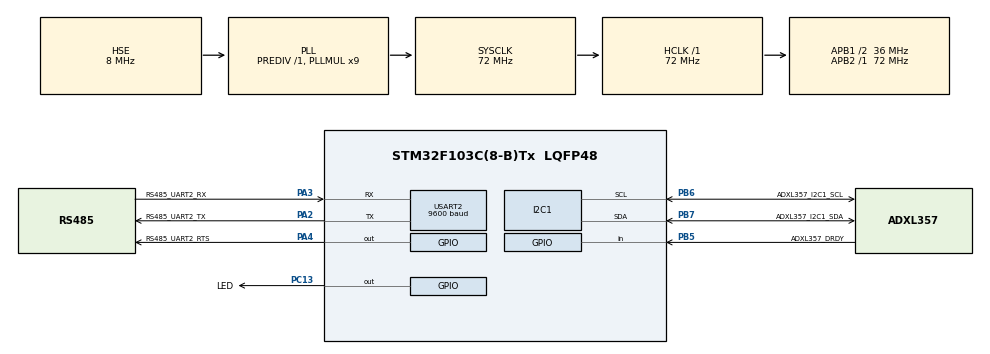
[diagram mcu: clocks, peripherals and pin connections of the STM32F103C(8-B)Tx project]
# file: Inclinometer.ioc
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I2C1.I2C_Mode=I2C_Fast
Mcu.Family=STM32F1
Mcu.Name=STM32F103C(8-B)Tx
Mcu.Package=LQFP48
NVIC.I2C1_EV_IRQn=true\:0\:0\:false\:false\:true\:true\:true
NVIC.PriorityGroup=NVIC_PRIORITYGROUP_4
NVIC.TIM4_IRQn=true\:0\:0\:false\:false\:true\:true\:true
NVIC.USART2_IRQn=true\:0\:0\:false\:false\:true\:true\:true
PA13.Mode=Trace_Asynchronous_SW
PA13.Signal=SYS_JTMS-SWDIO
PA14.Mode=Trace_Asynchronous_SW
PA14.Signal=SYS_JTCK-SWCLK
PA2.GPIO_Label=RS485_UART2_TX
PA2.Mode=Asynchronous
PA2.Signal=USART2_TX
PA3.GPIO_Label=RS485_UART2_RX
PA3.GPIO_PuPd=GPIO_PULLUP
PA3.Mode=Asynchronous
PA3.Signal=USART2_RX
PA4.GPIO_Label=RS485_UART2_RTS
PA4.GPIO_PuPd=GPIO_PULLDOWN
PA4.GPIO_Speed=GPIO_SPEED_FREQ_MEDIUM
PA4.Signal=GPIO_Output
PB3.Mode=Trace_Asynchronous_SW
PB3.Signal=SYS_JTDO-TRACESWO
PB5.GPIO_Label=ADXL357_DRDY
PB5.GPIO_PuPd=GPIO_PULLDOWN
PB5.Signal=GPIO_Input
PB6.GPIO_Label=ADXL357_I2C1_SCL
PB6.Mode=I2C
PB6.Signal=I2C1_SCL
PB7.GPIO_Label=ADXL357_I2C1_SDA
PB7.Mode=I2C
PB7.Signal=I2C1_SDA
PC13-TAMPER-RTC.GPIO_Label=LED
PC13-TAMPER-RTC.Signal=GPIO_Output
PD0-OSC_IN.Mode=HSE-External-Oscillator
PD0-OSC_IN.Signal=RCC_OSC_IN
PD1-OSC_OUT.Mode=HSE-External-Oscillator
PD1-OSC_OUT.Signal=RCC_OSC_OUT
ProjectManager.HeapSize=0x200
ProjectManager.StackSize=0x300
ProjectManager.TargetToolchain=MDK-ARM V5.32
RCC.AHBFreq_Value=72000000
RCC.APB1CLKDivider=RCC_HCLK_DIV2
RCC.APB1Freq_Value=36000000
RCC.APB1TimFreq_Value=72000000
RCC.APB2Freq_Value=72000000
RCC.APB2TimFreq_Value=72000000
RCC.HCLKFreq_Value=72000000
RCC.PLLMUL=RCC_PLL_MUL9
RCC.PLLSourceVirtual=RCC_PLLSOURCE_HSE
RCC.SYSCLKFreq_VALUE=72000000
RCC.SYSCLKSource=RCC_SYSCLKSOURCE_PLLCLK
RCC.USBFreq_Value=72000000
TIM4.Period=365
TIM4.Prescaler=719
USART2.BaudRate=9600
USART2.VirtualMode=VM_ASYNC
VP_TIM4_VS_ClockSourceINT.Mode=Internal
board=custom

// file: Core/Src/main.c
/* USER CODE BEGIN Header */
/**
  ******************************************************************************
  * @file           : main.c
  * @brief          : Main program body
  ******************************************************************************
  * @attention
  *
  * Copyright (c) 2022 STMicroelectronics.
  * All rights reserved.
  *
  * This software is licensed under terms that can be found in the LICENSE file
  * in the root directory of this software component.
  * If no LICENSE file comes with this software, it is provided AS-IS.
  *
  ******************************************************************************
  */
/* USER CODE END Header */
#include "main.h"

/* USER CODE BEGIN Includes */
#include "RS485Connector.h"
#include "Memory.h"
#include "ModbusCommon.h"
#include "LSM9DS0.h"
#include "TimeSpan.h"
#include <math.h>
#include <stdio.h>
/* USER CODE END Includes */

I2C_HandleTypeDef hi2c1;

TIM_HandleTypeDef htim4;

UART_HandleTypeDef huart2;

/* USER CODE BEGIN PV */
Memory* memory = (void*)FIRST_PAGE_PROPERTY_ADDR;

RS485Server rs485Server = {
	.tim = &htim4,
	.uart = &huart2,
	.RTS_GPIO_PORT = RS485_UART2_RTS_GPIO_Port,
  .RTS_PIN = RS485_UART2_RTS_Pin,
};

LSM9DS0 lsm9ds0 ={
	.i2c=&hi2c1,
	//.address = 0x1D,//0x53,//
	//.address = 0x1E,//Адрес акселерометра в составе LSM9DS0
	.isConnected = 0x00,
};

InclinometrData inclinometrData={
	.Pitch = 0.0F,             //Тангаж [град.]
	.Roll = 0.0F,              //Крен [град.]
	.AccelerationX = 0.0F,     //Ускорение по оси X [g]
	.AccelerationY = 0.0F,     //Ускорение по оси Y [g]
	.AccelerationZ = 0.0F,     //Ускорение по оси Z [g]
	.Temperature = -273.0F,    //Температура [град. C]
	.AccelerationRAWX = 0.0F,  //Ускорение по оси X до выполнения корректировки [g]
	.AccelerationRAWY = 0.0F,  //Ускорение по оси Y до выполнения корректировки [g]
	.AccelerationRAWZ = 0.0F,  //Ускорение по оси Z до выполнения корректировки [g]
	.VibroAcceleratuonRMS=0.0F,//Среднеквадратическое значение виброускорения (вибрация) [g]
};

const char infoStringFirstPart[]="Inclinometr ID_";
char infoString[sizeof(infoStringFirstPart)+24];
InfoRegisters infoRegisters={(uint8_t*)infoString,sizeof(infoString)+24};

InputRegisters inputRegisters={
  .registers = (uint16_t*)&inclinometrData,
  .count = sizeof(InclinometrData)/2
};

HoldingRegisters holdingRegisters={(uint16_t*)FIRST_PAGE_PROPERTY_ADDR,sizeof(Memory)/2};

ContactRegisters contactRegisters = {NULL,0};
CoilRegisters coilRegisters = {NULL,0};

//----------------------------
#define ACCEL_FREQUENCY_SUMPLING 100

float vibroAccelArrayX[ACCEL_FREQUENCY_SUMPLING];
float vibroAccelArrayY[ACCEL_FREQUENCY_SUMPLING];
float vibroAccelArrayZ[ACCEL_FREQUENCY_SUMPLING];
uint16_t vibroAccelCounter=0;
/* USER CODE END PV */

void SystemClock_Config(void);
static void MX_GPIO_Init(void);
static void MX_I2C1_Init(void);
static void MX_USART2_UART_Init(void);
static void MX_TIM4_Init(void);

/* USER CODE BEGIN 0 */
void HAL_UART_TxCpltCallback(UART_HandleTypeDef *huart)
{
	//if(huart->Instance==rs485Server.uart->Instance)
	RS485Server_uartTxSlot(&rs485Server);
}

void HAL_UART_RxCpltCallback(UART_HandleTypeDef *huart)
{
	//if(huart->Instance==rs485Server.uart->Instance)
	RS485Server_uartRxSlot(&rs485Server);
}

void HAL_UART_ErrorCallback(UART_HandleTypeDef *huart)
{
  if(huart->Instance==rs485Server.uart->Instance)
	{
		RS485Server_uartErrorSlot(&rs485Server);
	}
}

void HAL_TIM_PeriodElapsedCallback(TIM_HandleTypeDef *htim)
{
  if(htim->Instance==rs485Server.tim->Instance)RS485Server_timerSlot(&rs485Server);
}

void HAL_I2C_MemRxCpltCallback(I2C_HandleTypeDef *hi2c)
{
  if(hi2c->Instance==lsm9ds0.i2c->Instance)
	{
		lsm9ds0.rxCpltCallback(&lsm9ds0);
	}
}

void adxlAccelVectorReceiveCallback(float adxl357_Vector[3])
{
	static uint8_t isVectorAlreadyReceived = 0;

	inclinometrData.AccelerationRAWX = adxl357_Vector[0];
	inclinometrData.AccelerationRAWY = adxl357_Vector[1];
	inclinometrData.AccelerationRAWZ = adxl357_Vector[2];

	static float AccelTmpX;
	static float AccelTmpY;
	static float AccelTmpZ;

	/*if(isVectorAlreadyReceived==0)//Первый вызов, фильтрацию проводить смысла нет
	{
		isVectorAlreadyReceived=1;

		AccelTmpX = adxl357_Vector[0];
	  AccelTmpY = adxl357_Vector[1];
	  AccelTmpZ = adxl357_Vector[2];
	}
	else //применяем фильтр Калмана
	{
		AccelTmpX = AccelTmpX*0.96F + adxl357_Vector[0]*0.04F;//Коэффициенты взяты примерно, с учетом что выборка происходит с частотой 125 Гц
	  AccelTmpY = AccelTmpY*0.96F + adxl357_Vector[1]*0.04F;
	  AccelTmpZ = AccelTmpZ*0.96F + adxl357_Vector[2]*0.04F;
	}

	vibroAccelArrayX[vibroAccelCounter] = adxl357_Vector[0] - AccelTmpX;
	vibroAccelArrayY[vibroAccelCounter] = adxl357_Vector[1] - AccelTmpY;
	vibroAccelArrayZ[vibroAccelCounter] = adxl357_Vector[2] - AccelTmpZ;*/

	if(++vibroAccelCounter==ACCEL_FREQUENCY_SUMPLING)
	{
		vibroAccelCounter=0;
		float accelTmpX=0;
		float accelTmpY=0;
		float accelTmpZ=0;

		for(int i =0;i<ACCEL_FREQUENCY_SUMPLING;i++)
		{
			accelTmpX+=vibroAccelArrayX[i]*vibroAccelArrayX[i];
			accelTmpY+=vibroAccelArrayY[i]*vibroAccelArrayY[i];
			accelTmpZ+=vibroAccelArrayZ[i]*vibroAccelArrayZ[i];
		}
		accelTmpX = sqrtf(accelTmpX);
		accelTmpY = sqrtf(accelTmpY);
		accelTmpZ = sqrtf(accelTmpZ);
		inclinometrData.VibroAcceleratuonRMS = sqrtf(accelTmpX*accelTmpX + accelTmpY*accelTmpY + accelTmpZ*accelTmpZ);
	}

	if(memory->adjPoints[1].temperature==300.0F)//Если калибровка произведена только на одной точке
	{
		//Добавить смещение нуля
		float offsetX = memory->adjPoints[0].zeroOffsetVector[0];
		float offsetY = memory->adjPoints[0].zeroOffsetVector[1];
		float offsetZ = memory->adjPoints[0].zeroOffsetVector[2];

		if(isVectorAlreadyReceived==0)//Первый вызов, фильтрацию проводить смысла нет
	  {
		  isVectorAlreadyReceived=1;

		  AccelTmpX = (adxl357_Vector[0]+offsetX);
	    AccelTmpY = (adxl357_Vector[1]+offsetY);
	    AccelTmpZ = (adxl357_Vector[2]+offsetZ);
	  }
	  else //применяем фильтр Калмана
	  {
		  AccelTmpX = AccelTmpX*0.96F + (adxl357_Vector[0]+offsetX)*0.04F;//Коэффициенты взяты примерно, с учетом что выборка происходит с частотой 100 Гц
	    AccelTmpY = AccelTmpY*0.96F + (adxl357_Vector[1]+offsetY)*0.04F;
	    AccelTmpZ = AccelTmpZ*0.96F + (adxl357_Vector[2]+offsetZ)*0.04F;
	  }

	  vibroAccelArrayX[vibroAccelCounter] = (adxl357_Vector[0]+offsetX) - AccelTmpX;
	  vibroAccelArrayY[vibroAccelCounter] = (adxl357_Vector[1]+offsetY) - AccelTmpY;
	  vibroAccelArrayZ[vibroAccelCounter] = (adxl357_Vector[2]+offsetZ) - AccelTmpZ;

		/*AccelTmpX+= offsetX;
		AccelTmpY+= offsetY;
		AccelTmpZ+= offsetZ;*/

		//Умножить на матрицу перехода
		inclinometrData.AccelerationX = AccelTmpX*memory->adjPoints[0].transitionMatrix[0][0]+AccelTmpY*memory->adjPoints[0].transitionMatrix[1][0]+AccelTmpZ*memory->adjPoints[0].transitionMatrix[2][0];
		inclinometrData.AccelerationY = AccelTmpX*memory->adjPoints[0].transitionMatrix[0][1]+AccelTmpY*memory->adjPoints[0].transitionMatrix[1][1]+AccelTmpZ*memory->adjPoints[0].transitionMatrix[2][1];
		inclinometrData.AccelerationZ = AccelTmpX*memory->adjPoints[0].transitionMatrix[0][2]+AccelTmpY*memory->adjPoints[0].transitionMatrix[1][2]+AccelTmpZ*memory->adjPoints[0].transitionMatrix[2][2];
	}
	else//Если калибровка произведена на группе точек, причем количество точек может быть произвольное количество меньше или равно 10
	{
		int i = 1;
	  for(; i<ADJ_POINTS_COUNT;i++)
	  {
		  if(inclinometrData.Temperature<memory->adjPoints[i].temperature)//Нашли диапазон в котором находится температура
		  {
				//рассчитать смещения нуля в соответствии с линейной аппроксимацией температурной зависимости, добавить смещение нуля
			  float offsetX = ((inclinometrData.Temperature-memory->adjPoints[i-1].temperature)
			              *(memory->adjPoints[i].zeroOffsetVector[0]-memory->adjPoints[i-1].zeroOffsetVector[0])
			              /(memory->adjPoints[i].temperature-memory->adjPoints[i-1].temperature)
			              +memory->adjPoints[i-1].zeroOffsetVector[0]);
			  float offsetY = ((inclinometrData.Temperature-memory->adjPoints[i-1].temperature)
			              *(memory->adjPoints[i].zeroOffsetVector[1]-memory->adjPoints[i-1].zeroOffsetVector[1])
			              /(memory->adjPoints[i].temperature-memory->adjPoints[i-1].temperature)
			              +memory->adjPoints[i-1].zeroOffsetVector[1]);
			  float offsetZ = ((inclinometrData.Temperature-memory->adjPoints[i-1].temperature)
			              *(memory->adjPoints[i].zeroOffsetVector[2]-memory->adjPoints[i-1].zeroOffsetVector[2])
			              /(memory->adjPoints[i].temperature-memory->adjPoints[i-1].temperature)
			              +memory->adjPoints[i-1].zeroOffsetVector[2]);

				if(isVectorAlreadyReceived==0)//Первый вызов, фильтрацию проводить смысла нет
	      {
		      isVectorAlreadyReceived=1;

		      AccelTmpX = (adxl357_Vector[0]+offsetX);
	        AccelTmpY = (adxl357_Vector[1]+offsetY);
	        AccelTmpZ = (adxl357_Vector[2]+offsetZ);
	      }
	      else //применяем фильтр Калмана
	      {
		      AccelTmpX = AccelTmpX*0.96F + (adxl357_Vector[0]+offsetX)*0.04F;//Коэффициенты взяты примерно, с учетом что выборка происходит с частотой 100 Гц
	        AccelTmpY = AccelTmpY*0.96F + (adxl357_Vector[1]+offsetY)*0.04F;
	        AccelTmpZ = AccelTmpZ*0.96F + (adxl357_Vector[2]+offsetZ)*0.04F;
	      }

	      vibroAccelArrayX[vibroAccelCounter] = (adxl357_Vector[0]+offsetX) - AccelTmpX;
	      vibroAccelArrayY[vibroAccelCounter] = (adxl357_Vector[1]+offsetY) - AccelTmpY;
	      vibroAccelArrayZ[vibroAccelCounter] = (adxl357_Vector[2]+offsetZ) - AccelTmpZ;

		    /*AccelTmpX+= offsetX;
		    AccelTmpY+= offsetY;
		    AccelTmpZ+= offsetZ;*/

				//рассчитать коэффициеты матрицы перехода в соответствии с линейной аппроксимацией температурной зависимости
				float x11,x12,x13,x21,x22,x23,x31,x32,x33;
				x11 = (inclinometrData.Temperature-memory->adjPoints[i-1].temperature)
			        *(memory->adjPoints[i].transitionMatrix[0][0]-memory->adjPoints[i-1].transitionMatrix[0][0])
			        /(memory->adjPoints[i].temperature-memory->adjPoints[i-1].temperature)
			        +memory->adjPoints[i-1].transitionMatrix[0][0];
				x12 = (inclinometrData.Temperature-memory->adjPoints[i-1].temperature)
			        *(memory->adjPoints[i].transitionMatrix[0][1]-memory->adjPoints[i-1].transitionMatrix[0][1])
			        /(memory->adjPoints[i].temperature-memory->adjPoints[i-1].temperature)
			        +memory->adjPoints[i-1].transitionMatrix[0][1];
				x13 = (inclinometrData.Temperature-memory->adjPoints[i-1].temperature)
			        *(memory->adjPoints[i].transitionMatrix[0][2]-memory->adjPoints[i-1].transitionMatrix[0][2])
			        /(memory->adjPoints[i].temperature-memory->adjPoints[i-1].temperature)
			        +memory->adjPoints[i-1].transitionMatrix[0][2];
				x21 = (inclinometrData.Temperature-memory->adjPoints[i-1].temperature)
			        *(memory->adjPoints[i].transitionMatrix[1][0]-memory->adjPoints[i-1].transitionMatrix[1][0])
			        /(memory->adjPoints[i].temperature-memory->adjPoints[i-1].temperature)
			        +memory->adjPoints[i-1].transitionMatrix[1][0];
				x22 = (inclinometrData.Temperature-memory->adjPoints[i-1].temperature)
			        *(memory->adjPoints[i].transitionMatrix[1][1]-memory->adjPoints[i-1].transitionMatrix[1][1])
			        /(memory->adjPoints[i].temperature-memory->adjPoints[i-1].temperature)
			        +memory->adjPoints[i-1].transitionMatrix[1][1];
				x23 = (inclinometrData.Temperature-memory->adjPoints[i-1].temperature)
			        *(memory->adjPoints[i].transitionMatrix[1][2]-memory->adjPoints[i-1].transitionMatrix[1][2])
			        /(memory->adjPoints[i].temperature-memory->adjPoints[i-1].temperature)
			        +memory->adjPoints[i-1].transitionMatrix[1][2];
				x31 = (inclinometrData.Temperature-memory->adjPoints[i-1].temperature)
			        *(memory->adjPoints[i].transitionMatrix[2][0]-memory->adjPoints[i-1].transitionMatrix[2][0])
			        /(memory->adjPoints[i].temperature-memory->adjPoints[i-1].temperature)
			        +memory->adjPoints[i-1].transitionMatrix[2][0];
				x32 = (inclinometrData.Temperature-memory->adjPoints[i-1].temperature)
			        *(memory->adjPoints[i].transitionMatrix[2][1]-memory->adjPoints[i-1].transitionMatrix[2][1])
			        /(memory->adjPoints[i].temperature-memory->adjPoints[i-1].temperature)
			        +memory->adjPoints[i-1].transitionMatrix[2][1];
				x33 = (inclinometrData.Temperature-memory->adjPoints[i-1].temperature)
			        *(memory->adjPoints[i].transitionMatrix[2][2]-memory->adjPoints[i-1].transitionMatrix[2][2])
			        /(memory->adjPoints[i].temperature-memory->adjPoints[i-1].temperature)
			        +memory->adjPoints[i-1].transitionMatrix[2][2];

			  //Умножить на матрицу перехода
				inclinometrData.AccelerationX = AccelTmpX*x11+AccelTmpY*x21+AccelTmpZ*x31;
		    inclinometrData.AccelerationY = AccelTmpX*x12+AccelTmpY*x22+AccelTmpZ*x32;
		    inclinometrData.AccelerationZ = AccelTmpX*x13+AccelTmpY*x23+AccelTmpZ*x33;
		  }
	  }
		if(i == ADJ_POINTS_COUNT)//Значение температуры больше максимальной, забитой в калибровочной таблице
		{
			float offsetX = ((inclinometrData.Temperature-memory->adjPoints[i-2].temperature)
			            *(memory->adjPoints[i-1].zeroOffsetVector[0]-memory->adjPoints[i-2].zeroOffsetVector[0])
			            /(memory->adjPoints[i-1].temperature-memory->adjPoints[i-2].temperature)
			            +memory->adjPoints[i-2].zeroOffsetVector[0]);
			float offsetY = ((inclinometrData.Temperature-memory->adjPoints[i-2].temperature)
			            *(memory->adjPoints[i-1].zeroOffsetVector[1]-memory->adjPoints[i-2].zeroOffsetVector[1])
			            /(memory->adjPoints[i-1].temperature-memory->adjPoints[i-2].temperature)
			            +memory->adjPoints[i-2].zeroOffsetVector[1]);
			float offsetZ = ((inclinometrData.Temperature-memory->adjPoints[i-2].temperature)
			            *(memory->adjPoints[i-1].zeroOffsetVector[2]-memory->adjPoints[i-2].zeroOffsetVector[2])
			            /(memory->adjPoints[i-1].temperature-memory->adjPoints[i-2].temperature)
			            +memory->adjPoints[i-2].zeroOffsetVector[2]);

		  if(isVectorAlreadyReceived==0)//Первый вызов, фильтрацию проводить смысла нет
	    {
		    isVectorAlreadyReceived=1;

		    AccelTmpX = (adxl357_Vector[0]+offsetX);
	      AccelTmpY = (adxl357_Vector[1]+offsetY);
	      AccelTmpZ = (adxl357_Vector[2]+offsetZ);
	    }
	    else //применяем фильтр Калмана
	    {
		    AccelTmpX = AccelTmpX*0.96F + (adxl357_Vector[0]+offsetX)*0.04F;//Коэффициенты взяты примерно, с учетом что выборка происходит с частотой 100 Гц
	      AccelTmpY = AccelTmpY*0.96F + (adxl357_Vector[1]+offsetY)*0.04F;
	      AccelTmpZ = AccelTmpZ*0.96F + (adxl357_Vector[2]+offsetZ)*0.04F;
	    }

	    vibroAccelArrayX[vibroAccelCounter] = (adxl357_Vector[0]+offsetX) - AccelTmpX;
	    vibroAccelArrayY[vibroAccelCounter] = (adxl357_Vector[1]+offsetY) - AccelTmpY;
	    vibroAccelArrayZ[vibroAccelCounter] = (adxl357_Vector[2]+offsetZ) - AccelTmpZ;

		  /*AccelTmpX+= offsetX;
		  AccelTmpY+= offsetY;
		  AccelTmpZ+= offsetZ;*/

			//рассчитать коэффициеты матрицы перехода в соответствии с линейной аппроксимацией температурной зависимости
			float x11,x12,x13,x21,x22,x23,x31,x32,x33;
			x11 = (inclinometrData.Temperature-memory->adjPoints[i-2].temperature)
			     *(memory->adjPoints[i-1].transitionMatrix[0][0]-memory->adjPoints[i-2].transitionMatrix[0][0])
			     /(memory->adjPoints[i-1].temperature-memory->adjPoints[i-2].temperature)
			      +memory->adjPoints[i-2].transitionMatrix[0][0];
			x12 = (inclinometrData.Temperature-memory->adjPoints[i-2].temperature)
			     *(memory->adjPoints[i-1].transitionMatrix[0][1]-memory->adjPoints[i-2].transitionMatrix[0][1])
			     /(memory->adjPoints[i-1].temperature-memory->adjPoints[i-2].temperature)
			      +memory->adjPoints[i-2].transitionMatrix[0][1];
			x13 = (inclinometrData.Temperature-memory->adjPoints[i-2].temperature)
			     *(memory->adjPoints[i-1].transitionMatrix[0][2]-memory->adjPoints[i-2].transitionMatrix[0][2])
			     /(memory->adjPoints[i-1].temperature-memory->adjPoints[i-2].temperature)
			      +memory->adjPoints[i-2].transitionMatrix[0][2];
			x21 = (inclinometrData.Temperature-memory->adjPoints[i-2].temperature)
			     *(memory->adjPoints[i-1].transitionMatrix[1][0]-memory->adjPoints[i-2].transitionMatrix[1][0])
			     /(memory->adjPoints[i-1].temperature-memory->adjPoints[i-2].temperature)
			      +memory->adjPoints[i-2].transitionMatrix[1][0];
			x22 = (inclinometrData.Temperature-memory->adjPoints[i-2].temperature)
			     *(memory->adjPoints[i-1].transitionMatrix[1][1]-memory->adjPoints[i-2].transitionMatrix[1][1])
			     /(memory->adjPoints[i-1].temperature-memory->adjPoints[i-2].temperature)
			      +memory->adjPoints[i-2].transitionMatrix[1][1];
			x23 = (inclinometrData.Temperature-memory->adjPoints[i-2].temperature)
			     *(memory->adjPoints[i-1].transitionMatrix[1][2]-memory->adjPoints[i-2].transitionMatrix[1][2])
			     /(memory->adjPoints[i-1].temperature-memory->adjPoints[i-2].temperature)
			      +memory->adjPoints[i-2].transitionMatrix[1][2];
			x31 = (inclinometrData.Temperature-memory->adjPoints[i-2].temperature)
			     *(memory->adjPoints[i-1].transitionMatrix[2][0]-memory->adjPoints[i-2].transitionMatrix[2][0])
			     /(memory->adjPoints[i-1].temperature-memory->adjPoints[i-2].temperature)
			      +memory->adjPoints[i-2].transitionMatrix[2][0];
			x32 = (inclinometrData.Temperature-memory->adjPoints[i-2].temperature)
			     *(memory->adjPoints[i-1].transitionMatrix[2][1]-memory->adjPoints[i-2].transitionMatrix[2][1])
			     /(memory->adjPoints[i-1].temperature-memory->adjPoints[i-2].temperature)
			      +memory->adjPoints[i-2].transitionMatrix[2][1];
			x33 = (inclinometrData.Temperature-memory->adjPoints[i-2].temperature)
			     *(memory->adjPoints[i-1].transitionMatrix[2][2]-memory->adjPoints[i-2].transitionMatrix[2][2])
			     /(memory->adjPoints[i-1].temperature-memory->adjPoints[i-2].temperature)
			      +memory->adjPoints[i-2].transitionMatrix[2][2];

			//Умножить на матрицу перехода
			inclinometrData.AccelerationX = AccelTmpX*x11+AccelTmpY*x21+AccelTmpZ*x31;
		  inclinometrData.AccelerationY = AccelTmpX*x12+AccelTmpY*x22+AccelTmpZ*x32;
		  inclinometrData.AccelerationZ = AccelTmpX*x13+AccelTmpY*x23+AccelTmpZ*x33;
		}
  }

	//Рассчитываем тангаж и крен
	if(inclinometrData.AccelerationX>0)//Т
	{
		inclinometrData.Pitch=acosf((inclinometrData.AccelerationX*0.0F + inclinometrData.AccelerationZ*1.0F)
			                           /(sqrtf(inclinometrData.AccelerationX*inclinometrData.AccelerationX + inclinometrData.AccelerationZ*inclinometrData.AccelerationZ)*sqrtf(0.0F*0.0F + -1.0F*-1.0F)))*180.0F/3.14159265F;
	}
	else
	{
		inclinometrData.Pitch=-acosf((inclinometrData.AccelerationX*0.0F + inclinometrData.AccelerationZ*1.0F)
			                           /(sqrtf(inclinometrData.AccelerationX*inclinometrData.AccelerationX + inclinometrData.AccelerationZ*inclinometrData.AccelerationZ)*sqrtf(0.0F*0.0F + -1.0F*-1.0F)))*180.0F/3.14159265F;
	}

	if(inclinometrData.AccelerationY>0)//Т
	{
		inclinometrData.Roll=acosf((inclinometrData.AccelerationY*0.0F + inclinometrData.AccelerationZ*1.0F)
			                           /(sqrtf(inclinometrData.AccelerationY*inclinometrData.AccelerationY + inclinometrData.AccelerationZ*inclinometrData.AccelerationZ)*sqrtf(0.0F*0.0F + -1.0F*-1.0F)))*180.0F/3.14159265F;
	}
	else
	{
		inclinometrData.Roll=-acosf((inclinometrData.AccelerationY*0.0F + inclinometrData.AccelerationZ*1.0F)
			                           /(sqrtf(inclinometrData.AccelerationY*inclinometrData.AccelerationY + inclinometrData.AccelerationZ*inclinometrData.AccelerationZ)*sqrtf(0.0F*0.0F + -1.0F*-1.0F)))*180.0F/3.14159265F;
	}
}

void adxlTemperatureReceiveCallback(float temperature)
{
	if(inclinometrData.Temperature==-273.0F) inclinometrData.Temperature = temperature;
	else inclinometrData.Temperature = inclinometrData.Temperature*0.9F + temperature*0.1F;//Фильтр Калмана
}
/* USER CODE END 0 */

int main(void)
{

  /* MCU Configuration--------------------------------------------------------*/

  /* Reset of all peripherals, Initializes the Flash interface and the Systick. */
  HAL_Init();

  /* Configure the system clock */
  SystemClock_Config();

  /* USER CODE BEGIN SysInit */
	uint32_t* id = (void*)0x1FFFF7E8;
  infoRegisters.len = sprintf((char*)infoRegisters.data,"%s%.8X%.8X%.8X",infoStringFirstPart,id[0],id[1],id[2]);
  /* USER CODE END SysInit */

  /* Initialize all configured peripherals */
  MX_GPIO_Init();
  MX_I2C1_Init();
  MX_USART2_UART_Init();
  MX_TIM4_Init();
  /* USER CODE BEGIN 2 */
	Memory_Init();

  RS485Connector_Init(&rs485Server);

	uint32_t lastBlinkTime = HAL_GetTick();
	uint32_t blinkTime = HAL_GetTick();

	if(LSM9DS0_Init(&lsm9ds0)!=HAL_OK)
	{
		while(1)
		{
			if(GetTimeSpan(lastBlinkTime, blinkTime = HAL_GetTick())>100)
			{
				lastBlinkTime = blinkTime;
			  HAL_GPIO_TogglePin(LED_GPIO_Port,LED_Pin);
			}
		}
	}
  /* USER CODE END 2 */

  /* Infinite loop */
  /* USER CODE BEGIN WHILE */
  while (1)
  {
		if(GetTimeSpan(lastBlinkTime, blinkTime = HAL_GetTick())>500)
		{
		  lastBlinkTime = blinkTime;
			HAL_GPIO_TogglePin(LED_GPIO_Port,LED_Pin);
		}

		LSM9DS0_Loop(&lsm9ds0);
    /* USER CODE END WHILE */

  }
}

void SystemClock_Config(void)
{
  RCC_OscInitTypeDef RCC_OscInitStruct = {0};
  RCC_ClkInitTypeDef RCC_ClkInitStruct = {0};

  /** Initializes the RCC Oscillators according to the specified parameters
  * in the RCC_OscInitTypeDef structure.
  */
  RCC_OscInitStruct.OscillatorType = RCC_OSCILLATORTYPE_HSE;
  RCC_OscInitStruct.HSEState = RCC_HSE_ON;
  RCC_OscInitStruct.HSEPredivValue = RCC_HSE_PREDIV_DIV1;
  RCC_OscInitStruct.HSIState = RCC_HSI_ON;
  RCC_OscInitStruct.PLL.PLLState = RCC_PLL_ON;
  RCC_OscInitStruct.PLL.PLLSource = RCC_PLLSOURCE_HSE;
  RCC_OscInitStruct.PLL.PLLMUL = RCC_PLL_MUL9;
  if (HAL_RCC_OscConfig(&RCC_OscInitStruct) != HAL_OK)
  {
    Error_Handler();
  }
  /** Initializes the CPU, AHB and APB buses clocks
  */
  RCC_ClkInitStruct.ClockType = RCC_CLOCKTYPE_HCLK|RCC_CLOCKTYPE_SYSCLK
                              |RCC_CLOCKTYPE_PCLK1|RCC_CLOCKTYPE_PCLK2;
  RCC_ClkInitStruct.SYSCLKSource = RCC_SYSCLKSOURCE_PLLCLK;
  RCC_ClkInitStruct.AHBCLKDivider = RCC_SYSCLK_DIV1;
  RCC_ClkInitStruct.APB1CLKDivider = RCC_HCLK_DIV2;
  RCC_ClkInitStruct.APB2CLKDivider = RCC_HCLK_DIV1;

  if (HAL_RCC_ClockConfig(&RCC_ClkInitStruct, FLASH_LATENCY_2) != HAL_OK)
  {
    Error_Handler();
  }
}

static void MX_I2C1_Init(void)
{

  hi2c1.Instance = I2C1;
  hi2c1.Init.ClockSpeed = 400000;
  hi2c1.Init.DutyCycle = I2C_DUTYCYCLE_2;
  hi2c1.Init.OwnAddress1 = 0;
  hi2c1.Init.AddressingMode = I2C_ADDRESSINGMODE_7BIT;
  hi2c1.Init.DualAddressMode = I2C_DUALADDRESS_DISABLE;
  hi2c1.Init.OwnAddress2 = 0;
  hi2c1.Init.GeneralCallMode = I2C_GENERALCALL_DISABLE;
  hi2c1.Init.NoStretchMode = I2C_NOSTRETCH_DISABLE;
  if (HAL_I2C_Init(&hi2c1) != HAL_OK)
  {
    Error_Handler();
  }

}

static void MX_TIM4_Init(void)
{

  TIM_ClockConfigTypeDef sClockSourceConfig = {0};
  TIM_MasterConfigTypeDef sMasterConfig = {0};

  /* USER CODE BEGIN TIM4_Init 1 */

	#ifdef OLD_CODE
  /* USER CODE END TIM4_Init 1 */
  htim4.Instance = TIM4;
  htim4.Init.Prescaler = 719;
  htim4.Init.CounterMode = TIM_COUNTERMODE_UP;
  htim4.Init.Period = 365;
  htim4.Init.ClockDivision = TIM_CLOCKDIVISION_DIV1;
  htim4.Init.AutoReloadPreload = TIM_AUTORELOAD_PRELOAD_DISABLE;
  if (HAL_TIM_Base_Init(&htim4) != HAL_OK)
  {
    Error_Handler();
  }
  sClockSourceConfig.ClockSource = TIM_CLOCKSOURCE_INTERNAL;
  if (HAL_TIM_ConfigClockSource(&htim4, &sClockSourceConfig) != HAL_OK)
  {
    Error_Handler();
  }
  sMasterConfig.MasterOutputTrigger = TIM_TRGO_RESET;
  sMasterConfig.MasterSlaveMode = TIM_MASTERSLAVEMODE_DISABLE;
  if (HAL_TIMEx_MasterConfigSynchronization(&htim4, &sMasterConfig) != HAL_OK)
  {
    Error_Handler();
  }
  /* USER CODE BEGIN TIM4_Init 2 */
	#else
	htim4.Instance = TIM4;
  htim4.Init.Prescaler = 719;
  htim4.Init.CounterMode = TIM_COUNTERMODE_UP;
  htim4.Init.Period = (uint16_t)(10.0F*3.5F*100000.0F/memory->uartProperty.uartBaudrate/*huart2.Instance->BRR*/)+1;//365;
  htim4.Init.ClockDivision = TIM_CLOCKDIVISION_DIV1;
  htim4.Init.AutoReloadPreload = TIM_AUTORELOAD_PRELOAD_DISABLE;
  if (HAL_TIM_Base_Init(&htim4) != HAL_OK)
  {
    Error_Handler();
  }
  sClockSourceConfig.ClockSource = TIM_CLOCKSOURCE_INTERNAL;
  if (HAL_TIM_ConfigClockSource(&htim4, &sClockSourceConfig) != HAL_OK)
  {
    Error_Handler();
  }
  sMasterConfig.MasterOutputTrigger = TIM_TRGO_RESET;
  sMasterConfig.MasterSlaveMode = TIM_MASTERSLAVEMODE_DISABLE;
  if (HAL_TIMEx_MasterConfigSynchronization(&htim4, &sMasterConfig) != HAL_OK)
  {
    Error_Handler();
  }
  #endif
  /* USER CODE END TIM4_Init 2 */

}

static void MX_USART2_UART_Init(void)
{

  /* USER CODE BEGIN USART2_Init 1 */
#ifdef OLD_CODE
  /* USER CODE END USART2_Init 1 */
  huart2.Instance = USART2;
  huart2.Init.BaudRate = 9600;
  huart2.Init.WordLength = UART_WORDLENGTH_8B;
  huart2.Init.StopBits = UART_STOPBITS_1;
  huart2.Init.Parity = UART_PARITY_NONE;
  huart2.Init.Mode = UART_MODE_TX_RX;
  huart2.Init.HwFlowCtl = UART_HWCONTROL_NONE;
  huart2.Init.OverSampling = UART_OVERSAMPLING_16;
  if (HAL_UART_Init(&huart2) != HAL_OK)
  {
    Error_Handler();
  }
  /* USER CODE BEGIN USART2_Init 2 */
#else
	huart2.Instance = USART2;
  huart2.Init.BaudRate = memory->uartProperty.uartBaudrate;
  huart2.Init.WordLength = UART_WORDLENGTH_8B;
  huart2.Init.StopBits = UART_STOPBITS_1;
  huart2.Init.Parity = UART_PARITY_NONE;
  huart2.Init.Mode = UART_MODE_TX_RX;
  huart2.Init.HwFlowCtl = UART_HWCONTROL_NONE;
  huart2.Init.OverSampling = UART_OVERSAMPLING_16;
  if (HAL_UART_Init(&huart2) != HAL_OK)
  {
    Error_Handler();
  }
#endif

  /* USER CODE END USART2_Init 2 */

}

static void MX_GPIO_Init(void)
{
  GPIO_InitTypeDef GPIO_InitStruct = {0};

  /* GPIO Ports Clock Enable */
  __HAL_RCC_GPIOC_CLK_ENABLE();
  __HAL_RCC_GPIOD_CLK_ENABLE();
  __HAL_RCC_GPIOA_CLK_ENABLE();
  __HAL_RCC_GPIOB_CLK_ENABLE();

  /*Configure GPIO pin Output Level */
  HAL_GPIO_WritePin(LED_GPIO_Port, LED_Pin, GPIO_PIN_RESET);

  /*Configure GPIO pin Output Level */
  HAL_GPIO_WritePin(RS485_UART2_RTS_GPIO_Port, RS485_UART2_RTS_Pin, GPIO_PIN_RESET);

  /*Configure GPIO pin : LED_Pin */
  GPIO_InitStruct.Pin = LED_Pin;
  GPIO_InitStruct.Mode = GPIO_MODE_OUTPUT_PP;
  GPIO_InitStruct.Pull = GPIO_NOPULL;
  GPIO_InitStruct.Speed = GPIO_SPEED_FREQ_LOW;
  HAL_GPIO_Init(LED_GPIO_Port, &GPIO_InitStruct);

  /*Configure GPIO pin : RS485_UART2_RTS_Pin */
  GPIO_InitStruct.Pin = RS485_UART2_RTS_Pin;
  GPIO_InitStruct.Mode = GPIO_MODE_OUTPUT_PP;
  GPIO_InitStruct.Pull = GPIO_PULLDOWN;
  GPIO_InitStruct.Speed = GPIO_SPEED_FREQ_MEDIUM;
  HAL_GPIO_Init(RS485_UART2_RTS_GPIO_Port, &GPIO_InitStruct);

  /*Configure GPIO pin : ADXL357_DRDY_Pin */
  GPIO_InitStruct.Pin = ADXL357_DRDY_Pin;
  GPIO_InitStruct.Mode = GPIO_MODE_INPUT;
  GPIO_InitStruct.Pull = GPIO_PULLDOWN;
  HAL_GPIO_Init(ADXL357_DRDY_GPIO_Port, &GPIO_InitStruct);

}

void Error_Handler(void)
{
  __disable_irq();
  while (1)
  {
  }
}
